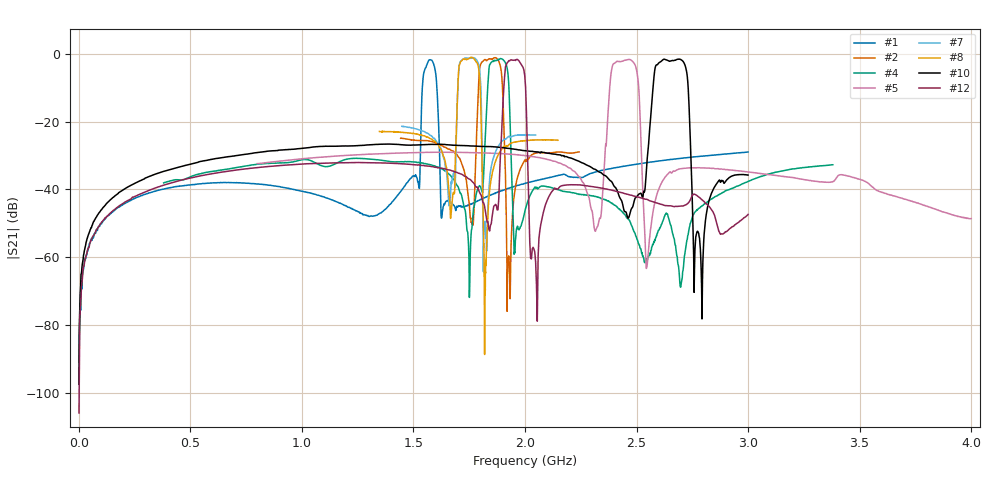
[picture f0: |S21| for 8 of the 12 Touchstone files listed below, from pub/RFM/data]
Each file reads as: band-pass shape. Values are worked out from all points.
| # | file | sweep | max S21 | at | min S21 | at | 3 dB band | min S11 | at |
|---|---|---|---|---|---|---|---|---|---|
| 1 | sf1186g_w.s2p | 300 kHz to 3 GHz | -1.82 dB | 1.575 GHz | -90.9 dB | 300 kHz | 1.551 GHz-1.596 GHz | -40.9 dB | 1.568 GHz |
| 2 | sf1192b.s2p | 1.442 GHz to 2.243 GHz | -1.19 dB | 1.865 GHz | -75.9 dB | 1.92 GHz | 1.798 GHz-1.891 GHz | -33.6 dB | 1.822 GHz |
| 3 | sf1224e-3_w.s2p | 10 MHz to 4.2 GHz | -0.34 dB | 2.317 GHz | -60.6 dB | 2.419 GHz | 2.288 GHz-2.383 GHz | -38.1 dB | 2.333 GHz |
| 4 | sf2036e_w.s2p | 380 MHz to 3.38 GHz | -1.45 dB | 1.891 GHz | -71.8 dB | 1.751 GHz | 1.839 GHz-1.919 GHz | -31.5 dB | 1.865 GHz |
| 5 | sf2124e_w.s2p | 800 MHz to 4 GHz | -1.71 dB | 2.466 GHz | -63.3 dB | 2.544 GHz | 2.39 GHz-2.498 GHz | -29.7 dB | 2.472 GHz |
| 6 | sf2133e-3.s2p | 10 MHz to 5 GHz | -1.17 dB | 1.766 GHz | -57.9 dB | 1.828 GHz | 1.707 GHz-1.794 GHz | -30.7 dB | 1.725 GHz |
| 7 | sf2133e-3_w.s2p | 1.448 GHz to 2.047 GHz | -1.16 dB | 1.765 GHz | -64.3 dB | 1.813 GHz | 1.704 GHz-1.795 GHz | -34.4 dB | 1.707 GHz |
| 8 | sf2133e_n.s2p | 1.347 GHz to 2.147 GHz | -1.08 dB | 1.758 GHz | -88.6 dB | 1.819 GHz | 1.704 GHz-1.791 GHz | -45.9 dB | 1.728 GHz |
| 9 | sf2133e_w.s2p | 100 MHz to 5 GHz | -1.22 dB | 1.76 GHz | -65.5 dB | 1.818 GHz | 1.705 GHz-1.79 GHz | -34.9 dB | 1.766 GHz |
| 10 | sf2161e_w.s2p | 30 kHz to 3 GHz | -1.62 dB | 2.691 GHz | -97.4 dB | 30 kHz | 2.584 GHz-2.721 GHz | -38.6 dB | 2.698 GHz |
| 11 | sf2171h.s2p | 10 MHz to 4 GHz | -1.58 dB | 2.382 GHz | -70.0 dB | 2.459 GHz | 2.297 GHz-2.411 GHz | -26.0 dB | 2.389 GHz |
| 12 | sf2224e_w.s2p | 300 kHz to 3 GHz | -1.71 dB | 1.965 GHz | -105.9 dB | 300 kHz | 1.913 GHz-1.991 GHz | -26.7 dB | 1.965 GHz |
